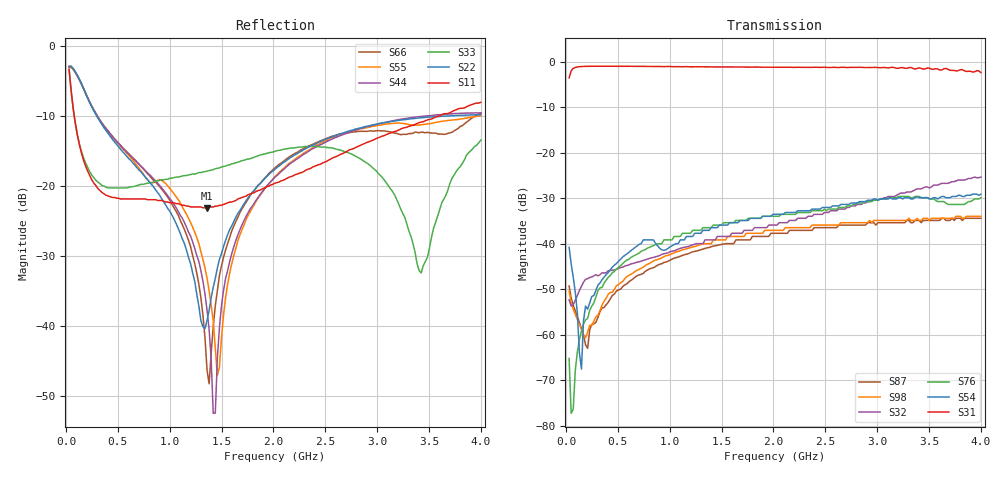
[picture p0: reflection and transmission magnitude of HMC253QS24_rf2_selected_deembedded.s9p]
!Hittite Microwave Corporation
!12 Elizabeth Drive
!Chelmsford, MA 01824
!Tel: 978-250-3343
!Fax: 978-250-3373
!Device: HMC253QS24, DC-2.5 GHz GaAS MMIC SP8T Non-Reflective Switch in 24-lead QSOP package
!Misc: Port 1 = RFCom, Port 2 = RF1, Port 3 = RF2, Port 4 = RF3, Port 5 = RF4, Port 6 = RF5, Port 7 = RF6, Port 8 = RF7, Port 9 = RF8, RF2 selected, Vdd=+5V
# MHZ S MA R 50
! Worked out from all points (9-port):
!   201 points, 30 MHz to 4 GHz, reference 50 ohm
!   strongest paths, dB at 30 MHz, 1.022 GHz, 2.015 GHz, 3.007 GHz, 4 GHz:
!     S31: -3.6, -1.1, -1.2, -1.3, -2.4
!     S54: -40.8, -40.5, -33.6, -30.5, -29.1
!     S76: -65.3, -39.2, -34.0, -30.5, -29.9
!     S32: -52.4, -41.6, -35.9, -30.5, -25.4
!     S98: -50.4, -42.2, -37.1, -34.9, -34.0
!     S87: -49.3, -43.4, -37.7, -35.4, -34.4
!   lowest |S11| = -23.1 dB at 1.36 GHz (marker M1), VSWR 1.15, Z = 56.5 - j3.66 ohm
!   |S11| at or under -10 dB: 79.64 MHz to 3.598 GHz (3.518 GHz wide, 191 % of centre)
